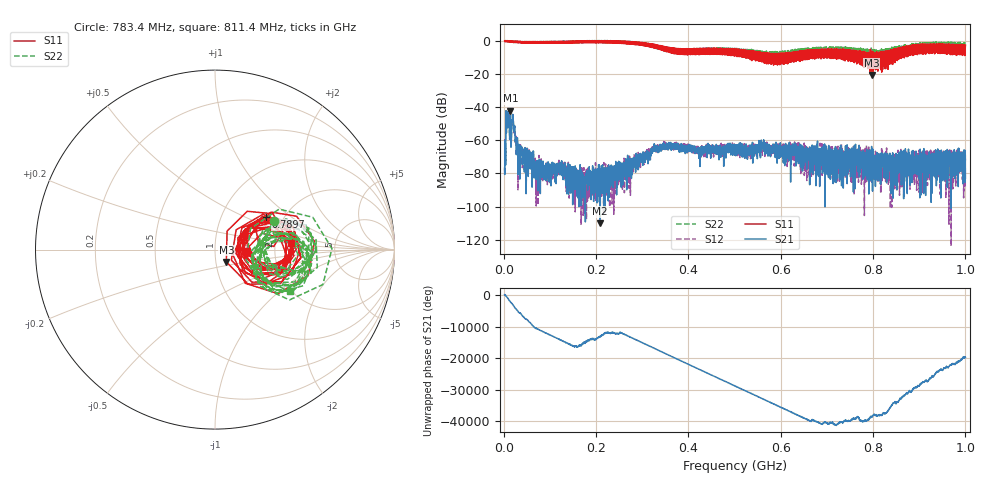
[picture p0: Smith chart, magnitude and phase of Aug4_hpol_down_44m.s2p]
!Keysight Technologies N9923A: A.12.45
!Date: Tuesday, 05 August 2025 19:09:19
!Timezone: (UTC+08:00) Kuala Lumpur, Singapore
!Model: N9923A
!Serial: MY61181427
!GPS Latitude:
!GPS Longitude:
!GPS TimeStamp: 0001-01-01 00:00:00Z
!GPS Seconds Since Last Read: 0
!CHECKSUM:2055309026
!Correction: S11(ON U)S21(ON U)S12(ON U)S22(ON U)
!S2P File: Measurements:S11,S21,S12,S22:
# Hz S DB R 50
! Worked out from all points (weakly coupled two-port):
!   4001 points, 2 MHz to 1 GHz, reference 50 ohm
!   highest |S21| = -42.06 dB at 14.47 MHz (marker M1); lowest = -110.1 dB at 209.1 MHz (marker M2)
!   lowest |S11| = -20.6 dB at 796.9 MHz (marker M3), VSWR 1.20, Z = 56.2 - j7.73 ohm
!   |S11| at or under -10 dB: 575.8145 MHz to 576.6007 MHz (786.1 kHz wide, 0.136 % of centre); 582.5562 MHz to 583.3516 MHz (795.5 kHz wide, 0.136 % of centre); 589.3074 MHz to 590.1105 MHz (803.1 kHz wide, 0.136 % of centre)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
!   |S22| runs from -14.8 to 0.2 dB; largest |S21 - S12| = 0.00099
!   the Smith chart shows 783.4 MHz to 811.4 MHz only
!   S11 on the Smith chart (normalised r, x): 783.4 MHz: 1.42, -0.04; 789.7 MHz: 1.63, +0.67; 811.4 MHz: 2.46, +0.22
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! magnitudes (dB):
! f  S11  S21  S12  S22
! 2 MHz  -0.1  -76.8  -77.0  -0.1
! 7.489 MHz  -0.6  -50.1  -50.0  -0.6
! 14.47 MHz  -0.6  -42.1  -42.0  -0.6
! 21.96 MHz  -0.4  -53.8  -54.6  -0.4
! 31.69 MHz  -0.3  -66.2  -67.1  -0.4
! 59.63 MHz  -1.1  -67.4  -68.6  -1.2
! 70.61 MHz  -0.8  -83.6  -85.5  -0.7
! 168.4 MHz  -1.2  -82.6  -80.2  -1.0
! 209.1 MHz  -0.7  -110.1  -89.9  -0.8
! 259.7 MHz  -0.4  -80.2  -76.0  -0.5
! 334.8 MHz  -3.8  -64.0  -65.6  -4.6
! 501 MHz  -5.7  -65.4  -65.8  -6.5
! 562.1 MHz  -7.7  -63.3  -63.0  -6.2
! 667.4 MHz  -8.7  -79.0  -66.9  -8.7
! 783.4 MHz  -15.2  -77.0  -68.7  -8.8
! 789.7 MHz  -9.4  -76.5  -73.2  -5.2
! 796.9 MHz  -20.6  -63.7  -69.2  -7.5
! 811.4 MHz  -7.4  -73.8  -70.2  -6.4
! 833.8 MHz  -10.6  -78.5  -75.3  -5.5
! 968.8 MHz  -8.4  -101.0  -67.9  -3.0
! 994 MHz  -8.8  -68.5  -74.4  -2.8
! 1 GHz  -2.6  -82.9  -72.0  -2.3
